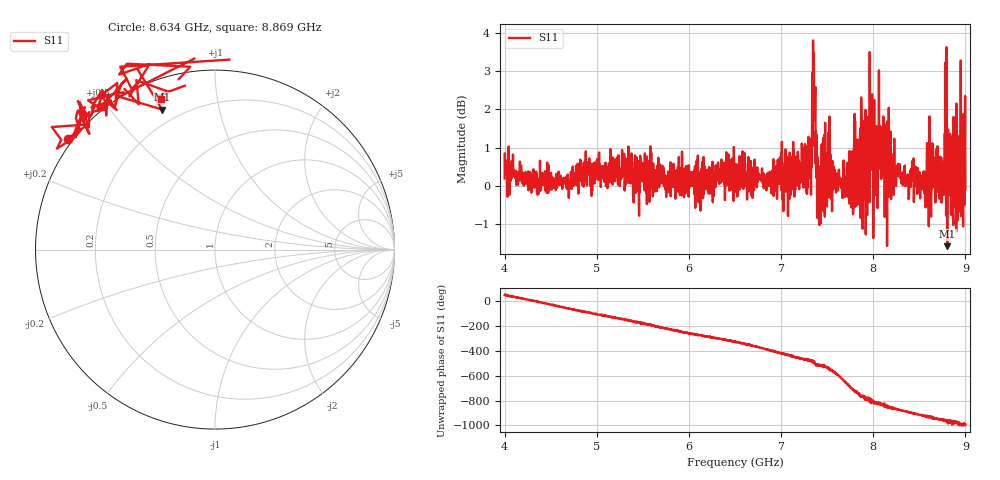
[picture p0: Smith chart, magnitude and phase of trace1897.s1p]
! Created with skrf 1.8.0 (http://scikit-rf.org).
# Hz S RI R 50.0
!freq ReS11 ImS11
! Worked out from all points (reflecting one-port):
!   1601 points, 4 GHz to 9 GHz, reference 50 ohm
!   lowest |S11| = -1.6 dB at 8.803 GHz (marker M1), VSWR 11.07, Z = 6.65 + j34.2 ohm
!   phase of S11 starts at 51 deg and turns -1046 deg over the sweep
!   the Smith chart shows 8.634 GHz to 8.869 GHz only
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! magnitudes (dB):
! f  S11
! 4 GHz  0.2
! 4.625 GHz  -0.1
! 5.25 GHz  0.0
! 5.875 GHz  0.0
! 6.5 GHz  0.4
! 6.878 GHz  0.4
! 7.125 GHz  0.7
! 7.3 GHz  1.1
! 7.362 GHz  1.7
! 7.412 GHz  0.2
! 7.512 GHz  1.4
! 7.65 GHz  -0.1
! 7.75 GHz  0.3
! 7.825 GHz  0.7
! 7.988 GHz  2.4
! 8.022 GHz  -0.1
! 8.05 GHz  1.3
! 8.088 GHz  0.2
! 8.15 GHz  -1.6
! 8.375 GHz  0.1
! 8.612 GHz  0.8
! 8.656 GHz  0.0
! 8.738 GHz  0.7
! 8.772 GHz  0.1
! 8.803 GHz  -1.6
! 8.903 GHz  2.1
! 8.972 GHz  0.7
! 9 GHz  -0.1
